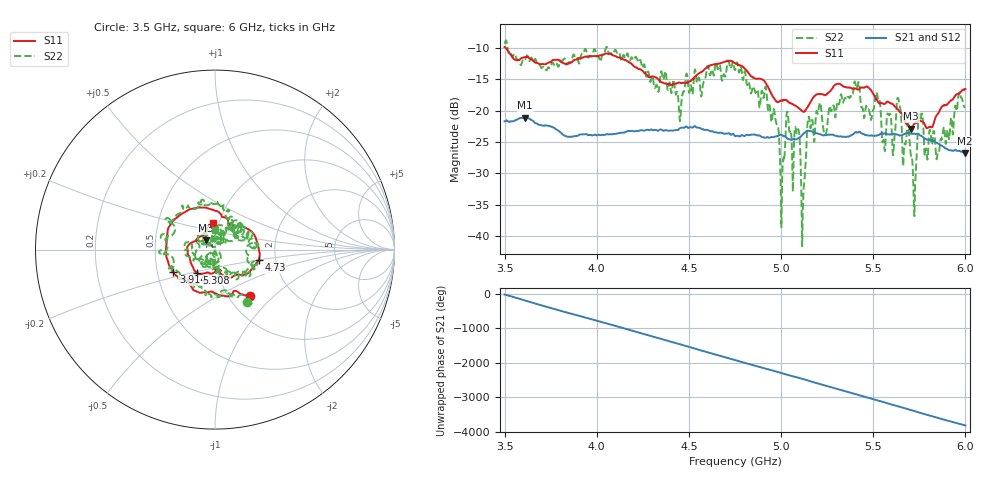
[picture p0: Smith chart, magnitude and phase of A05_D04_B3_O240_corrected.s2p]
! Created with skrf 1.9.0 (http://scikit-rf.org).
# Hz S RI R 50.0
!freq ReS11 ImS11 ReS21 ImS21 ReS12 ImS12 ReS22 ImS22
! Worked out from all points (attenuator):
!   1601 points, 3.5 GHz to 6 GHz, reference 50 ohm
!   highest |S21| = -21.09 dB at 3.611 GHz (marker M1); lowest = -26.7 dB at 5.997 GHz (marker M2)
!   lowest |S11| = -22.8 dB at 5.705 GHz (marker M3), VSWR 1.16, Z = 45 + j4.7 ohm
!   |S11| at or under -10 dB: 3.507 GHz to end of sweep
!   |S22| runs from -41.6 to -8.8 dB; largest |S21 - S12| = 0.0011
!   S11 on the Smith chart (normalised r, x): 3.5 GHz: 1.25, -0.72; 3.914 GHz: 0.61, -0.16; 4.73 GHz: 1.63, -0.20; 5.308 GHz: 0.79, -0.21; 6 GHz: 0.94, +0.29
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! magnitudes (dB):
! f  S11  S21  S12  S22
! 3.5 GHz  -9.8  -21.7  -21.7  -9.3
! 3.611 GHz  -11.4  -21.1  -21.1  -11.8
! 3.914 GHz  -11.6  -23.8  -23.7  -11.3
! 3.917 GHz  -11.6  -23.8  -23.8  -11.0
! 4.334 GHz  -15.0  -23.2  -23.1  -17.0
! 4.73 GHz  -12.0  -23.8  -23.7  -13.0
! 4.75 GHz  -12.4  -24.0  -24.0  -13.5
! 4.912 GHz  -15.4  -24.3  -24.2  -16.4
! 5.006 GHz  -18.4  -23.9  -23.8  -30.4
! 5.036 GHz  -18.5  -24.5  -24.4  -20.3
! 5.088 GHz  -19.4  -24.5  -24.4  -23.4
! 5.119 GHz  -20.1  -23.8  -23.6  -35.0
! 5.167 GHz  -18.2  -23.3  -23.2  -21.5
! 5.308 GHz  -15.7  -24.1  -24.0  -18.6
! 5.584 GHz  -18.6  -23.7  -23.7  -20.6
! 5.639 GHz  -20.0  -23.9  -23.8  -18.5
! 5.705 GHz  -22.8  -23.7  -23.6  -27.1
! 5.723 GHz  -22.1  -23.7  -23.6  -36.8
! 5.756 GHz  -21.6  -24.0  -23.9  -21.3
! 5.85 GHz  -20.5  -25.2  -25.1  -26.8
! 5.997 GHz  -16.6  -26.7  -26.6  -19.4
! 6 GHz  -16.5  -26.7  -26.6  -19.4
